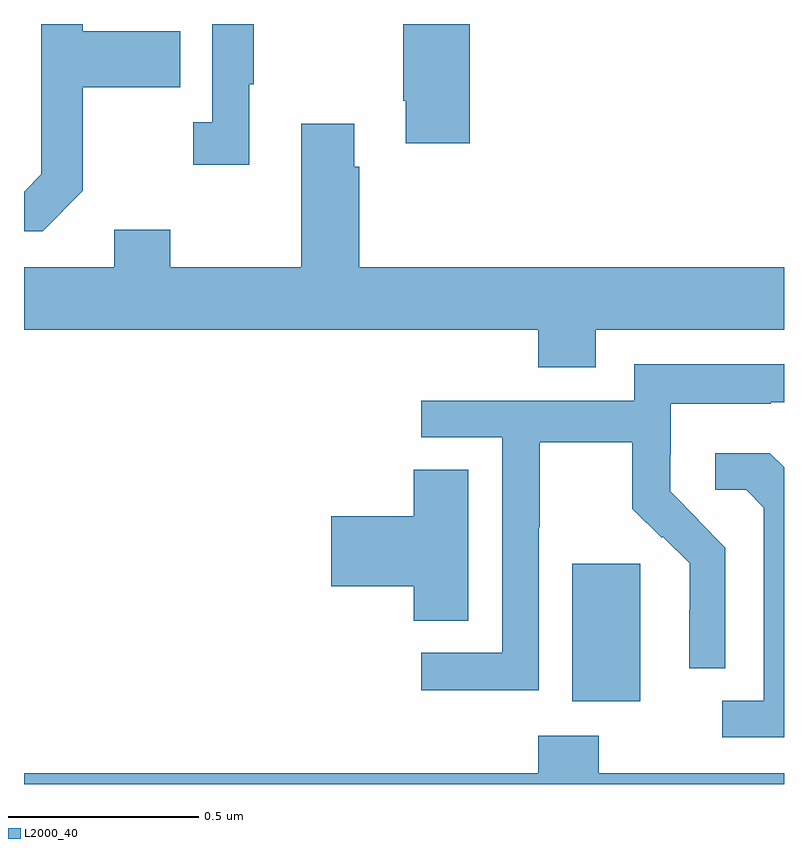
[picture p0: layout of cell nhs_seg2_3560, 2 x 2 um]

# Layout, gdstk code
import gdstk
lib = gdstk.Library(unit=1e-6, precision=1e-09)
def R(c, l, rs):  # rectangles x0, y0, x1, y1
    for r in rs: c.add(gdstk.rectangle(r[:2], r[2:], *l))
def P(c, l, *ps):  # polygons
    for p in ps: c.add(gdstk.Polygon(p, *l))
L2000_40 = (2000, 40)

nhs_seg2_3560 = lib.new_cell('nhs_seg2_3560')
R(nhs_seg2_3560, L2000_40, [(156.443,620.018,156.622,620.379)])
P(nhs_seg2_3560, L2000_40, [(155.155,621.361),(155.155,621.634),(155.411,621.634),(155.411,621.781),(155.155,621.781),(155.155,621.8),(155.046,621.8),(155.046,621.405),(155,621.359),(155,621.255),(155.049,621.255)],
  [(156.173,621.8),(155.998,621.8),(155.998,621.598),(156.005,621.598),(156.005,621.486),(156.173,621.486)],
  [(155.593,621.641),(155.605,621.641),(155.605,621.8),(155.496,621.8),(155.496,621.542),(155.445,621.542),(155.445,621.429),(155.593,621.429)],
  [(156.505,620.996),(157,620.996),(157,621.16),(155.882,621.16),(155.882,621.425),(155.869,621.425),(155.869,621.538),(155.729,621.538),(155.729,621.16),(155.385,621.16),(155.385,621.259),(155.237,621.259),(155.237,621.16),(155,621.16),(155,620.996),(156.353,620.996),(156.353,620.897),(156.505,620.897)],
  [(156.354,620.476),(156.357,620.476),(156.357,620.7),(156.601,620.7),(156.601,620.525),(156.678,620.448),(156.681,620.451),(156.752,620.381),(156.752,620.258),(156.75,620.258),(156.75,620.104),(156.846,620.104),(156.846,620.422),(156.773,620.495),(156.774,620.496),(156.7,620.57),(156.7,620.667),(156.702,620.667),(156.702,620.801),(156.965,620.801),(156.965,620.805),(157,620.805),(157,620.905),(156.606,620.905),(156.606,620.808),(156.045,620.808),(156.045,620.712),(156.258,620.712),(156.258,620.145),(156.045,620.145),(156.045,620.047),(156.354,620.047)],
  [(157,620.633),(156.962,620.671),(156.819,620.671),(156.819,620.574),(156.9,620.574),(156.947,620.527),(156.947,620.019),(156.837,620.019),(156.837,619.923),(157,619.923)],
  [(156.169,620.627),(156.026,620.627),(156.026,620.504),(155.808,620.504),(155.808,620.321),(156.026,620.321),(156.026,620.23),(156.169,620.23)],
  [(157,619.828),(156.513,619.828),(156.513,619.927),(156.353,619.927),(156.353,619.828),(155,619.828),(155,619.8),(157,619.8)])

lib.write_gds('nhs_seg2_3560.gds')
